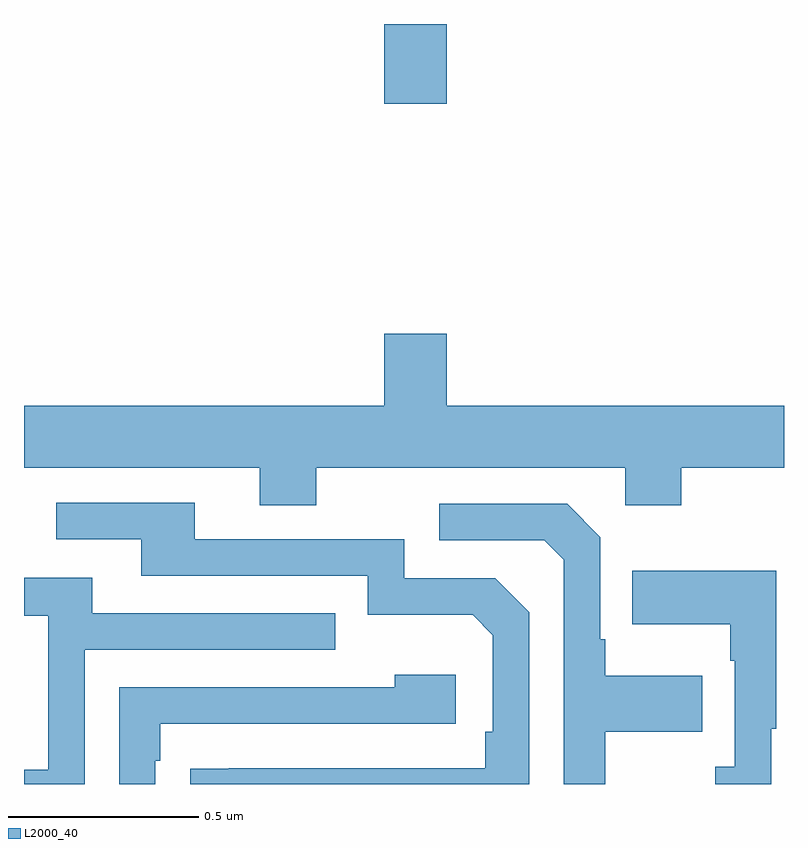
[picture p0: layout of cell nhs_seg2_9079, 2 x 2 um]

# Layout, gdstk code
import gdstk
lib = gdstk.Library(unit=1e-6, precision=1e-09)
def R(c, l, rs):  # rectangles x0, y0, x1, y1
    for r in rs: c.add(gdstk.rectangle(r[:2], r[2:], *l))
def P(c, l, *ps):  # polygons
    for p in ps: c.add(gdstk.Polygon(p, *l))
L2000_40 = (2000, 40)

nhs_seg2_9079 = lib.new_cell('nhs_seg2_9079')
R(nhs_seg2_9079, L2000_40, [(224.948,652.59,225.112,652.8)])
P(nhs_seg2_9079, L2000_40, [(224.769,651.632),(225.582,651.632),(225.582,651.533),(225.729,651.533),(225.729,651.632),(226,651.632),(226,651.796),(225.112,651.796),(225.112,651.985),(224.948,651.985),(224.948,651.796),(224,651.796),(224,651.632),(224.621,651.632),(224.621,651.533),(224.769,651.533)],
  [(225.33,651.252),(225.24,651.342),(225,651.342),(225,651.444),(224.449,651.444),(224.449,651.54),(224.085,651.54),(224.085,651.444),(224.309,651.444),(224.309,651.348),(224.904,651.348),(224.904,651.245),(225.181,651.245),(225.234,651.192),(225.234,650.938),(225.214,650.938),(225.214,650.841),(224.539,650.841),(224.539,650.84),(224.437,650.84),(224.437,650.8),(225.33,650.8)],
  [(225.529,650.938),(225.785,650.938),(225.785,651.085),(225.529,651.085),(225.529,651.181),(225.516,651.181),(225.516,651.45),(225.429,651.537),(225.093,651.537),(225.093,651.441),(225.369,651.441),(225.42,651.39),(225.42,650.8),(225.529,650.8)],
  [(225.967,650.945),(225.979,650.945),(225.979,651.361),(225.601,651.361),(225.601,651.221),(225.858,651.221),(225.858,651.125),(225.87,651.125),(225.87,650.846),(225.819,650.846),(225.819,650.8),(225.967,650.8)],
  [(224.16,651.153),(224.819,651.153),(224.819,651.249),(224.179,651.249),(224.179,651.343),(224,651.343),(224,651.243),(224.064,651.243),(224.064,650.838),(224,650.838),(224,650.8),(224.16,650.8)],
  [(224.346,650.861),(224.359,650.861),(224.359,650.958),(225.136,650.958),(225.136,651.088),(224.975,651.088),(224.975,651.054),(224.25,651.054),(224.25,650.8),(224.346,650.8)])

lib.write_gds('nhs_seg2_9079.gds')
